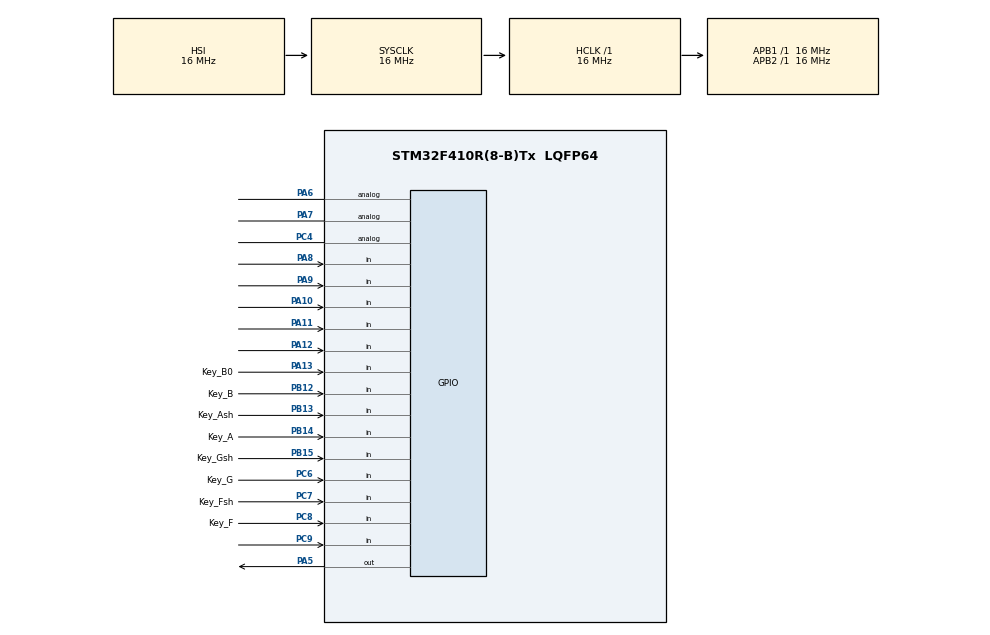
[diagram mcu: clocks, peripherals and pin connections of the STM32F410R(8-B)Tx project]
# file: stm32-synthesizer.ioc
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Mcu.Family=STM32F4
Mcu.Name=STM32F410R(8-B)Tx
Mcu.Package=LQFP64
NVIC.PriorityGroup=NVIC_PRIORITYGROUP_4
PA10.Signal=GPIO_Input
PA11.Signal=GPIO_Input
PA12.Signal=GPIO_Input
PA13.GPIO_Label=Key_B0
PA13.Signal=GPIO_Input
PA5.GPIO_Speed=GPIO_SPEED_FREQ_VERY_HIGH
PA5.Signal=GPIO_Output
PA6.Signal=GPIO_Analog
PA7.Signal=GPIO_Analog
PA8.Signal=GPIO_Input
PA9.Signal=GPIO_Input
PB12.GPIO_Label=Key_B
PB12.Signal=GPIO_Input
PB13.GPIO_Label=Key_Ash
PB13.Signal=GPIO_Input
PB14.GPIO_Label=Key_A
PB14.Signal=GPIO_Input
PB15.GPIO_Label=Key_Gsh
PB15.Signal=GPIO_Input
PC4.Signal=GPIO_Analog
PC6.GPIO_Label=Key_G
PC6.Signal=GPIO_Input
PC7.GPIO_Label=Key_Fsh
PC7.Signal=GPIO_Input
PC8.GPIO_Label=Key_F
PC8.Signal=GPIO_Input
PC9.Signal=GPIO_Input
ProjectManager.HeapSize=0x200
ProjectManager.StackSize=0x400
ProjectManager.TargetToolchain=SW4STM32
RCC.AHBFreq_Value=16000000
RCC.APB1Freq_Value=16000000
RCC.APB2Freq_Value=16000000
RCC.CortexFreq_Value=16000000
RCC.HSE_VALUE=25000000
RCC.HSI_VALUE=16000000
RCC.LSE_VALUE=32768
RCC.SYSCLKFreq_VALUE=16000000
RCC.VCOOutputFreq_Value=192000000
board=custom

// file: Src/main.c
/* USER CODE BEGIN Header */
/**
  ******************************************************************************
  * @file           : main.c
  * @brief          : Main program body
  ******************************************************************************
  * @attention
  *
  * <h2><center>&copy; Copyright (c) 2019 STMicroelectronics.
  * All rights reserved.</center></h2>
  *
  * This software component is licensed by ST under BSD 3-Clause license,
  * the "License"; You may not use this file except in compliance with the
  * License. You may obtain a copy of the License at:
  *                        opensource.org/licenses/BSD-3-Clause
  *
  ******************************************************************************
  */
/* USER CODE END Header */

#include "main.h"

/* USER CODE BEGIN PD */
#define	B0	16
#define	C1	15
#define	D1	14
#define	E1	12
#define	F1	11
#define	G1	10
#define	A1	9
#define	B1	8
/* USER CODE END PD */

void SystemClock_Config(void);
static void MX_GPIO_Init(void);

int main(void)
{

  /* MCU Configuration--------------------------------------------------------*/

  /* Reset of all peripherals, Initializes the Flash interface and the Systick. */
  HAL_Init();

  /* Configure the system clock */
  SystemClock_Config();

  /* Initialize all configured peripherals */
  MX_GPIO_Init();
  /* USER CODE BEGIN 2 */
  //HAL_GPIO_WritePin(GPIOA, GPIO_PIN_5, GPIO_PIN_SET);
  /* USER CODE END 2 */

  /* Infinite loop */
  /* USER CODE BEGIN WHILE */
  while (1)
  {
	  if ( HAL_GPIO_ReadPin(Key_B_GPIO_Port, Key_B_Pin) == GPIO_PIN_RESET) {
		  HAL_GPIO_TogglePin(GPIOA, GPIO_PIN_5);
		  HAL_Delay(B1);
	  } else if ( HAL_GPIO_ReadPin(GPIOB, GPIO_PIN_14) == GPIO_PIN_RESET) {
		  HAL_GPIO_TogglePin(GPIOA, GPIO_PIN_5);
		  HAL_Delay(A1);
	  } else if ( HAL_GPIO_ReadPin(GPIOC, GPIO_PIN_6) == GPIO_PIN_RESET) {
		  HAL_GPIO_TogglePin(GPIOA, GPIO_PIN_5);
		  HAL_Delay(G1);
	  } else if ( HAL_GPIO_ReadPin(GPIOC, GPIO_PIN_8) == GPIO_PIN_RESET) {
		  HAL_GPIO_TogglePin(GPIOA, GPIO_PIN_5);
		  HAL_Delay(F1);
	  } else if ( HAL_GPIO_ReadPin(GPIOC, GPIO_PIN_9) == GPIO_PIN_RESET) {
		  HAL_GPIO_TogglePin(GPIOA, GPIO_PIN_5);
		  HAL_Delay(E1);
	  } else if ( HAL_GPIO_ReadPin(GPIOA, GPIO_PIN_9) == GPIO_PIN_RESET) {
		  HAL_GPIO_TogglePin(GPIOA, GPIO_PIN_5);
		  HAL_Delay(D1);
	  } else if ( HAL_GPIO_ReadPin(GPIOA, GPIO_PIN_11) == GPIO_PIN_RESET) {
		  HAL_GPIO_TogglePin(GPIOA, GPIO_PIN_5);
		  HAL_Delay(C1);
	  } else if ( HAL_GPIO_ReadPin(GPIOA, GPIO_PIN_12) == GPIO_PIN_RESET) {
		  HAL_GPIO_TogglePin(GPIOA, GPIO_PIN_5);
		  HAL_Delay(B0);
	  } else {
		  HAL_GPIO_WritePin(GPIOA, GPIO_PIN_5, GPIO_PIN_RESET);
	  }

    /* USER CODE END WHILE */

  }
}

void SystemClock_Config(void)
{
  RCC_OscInitTypeDef RCC_OscInitStruct = {0};
  RCC_ClkInitTypeDef RCC_ClkInitStruct = {0};

  /** Configure the main internal regulator output voltage
  */
  __HAL_RCC_PWR_CLK_ENABLE();
  __HAL_PWR_VOLTAGESCALING_CONFIG(PWR_REGULATOR_VOLTAGE_SCALE1);
  /** Initializes the CPU, AHB and APB busses clocks
  */
  RCC_OscInitStruct.OscillatorType = RCC_OSCILLATORTYPE_HSI;
  RCC_OscInitStruct.HSIState = RCC_HSI_ON;
  RCC_OscInitStruct.HSICalibrationValue = RCC_HSICALIBRATION_DEFAULT;
  RCC_OscInitStruct.PLL.PLLState = RCC_PLL_NONE;
  if (HAL_RCC_OscConfig(&RCC_OscInitStruct) != HAL_OK)
  {
    Error_Handler();
  }
  /** Initializes the CPU, AHB and APB busses clocks
  */
  RCC_ClkInitStruct.ClockType = RCC_CLOCKTYPE_HCLK|RCC_CLOCKTYPE_SYSCLK
                              |RCC_CLOCKTYPE_PCLK1|RCC_CLOCKTYPE_PCLK2;
  RCC_ClkInitStruct.SYSCLKSource = RCC_SYSCLKSOURCE_HSI;
  RCC_ClkInitStruct.AHBCLKDivider = RCC_SYSCLK_DIV1;
  RCC_ClkInitStruct.APB1CLKDivider = RCC_HCLK_DIV1;
  RCC_ClkInitStruct.APB2CLKDivider = RCC_HCLK_DIV1;

  if (HAL_RCC_ClockConfig(&RCC_ClkInitStruct, FLASH_LATENCY_0) != HAL_OK)
  {
    Error_Handler();
  }
}

static void MX_GPIO_Init(void)
{
  GPIO_InitTypeDef GPIO_InitStruct = {0};

  /* GPIO Ports Clock Enable */
  __HAL_RCC_GPIOA_CLK_ENABLE();
  __HAL_RCC_GPIOC_CLK_ENABLE();
  __HAL_RCC_GPIOB_CLK_ENABLE();

  /*Configure GPIO pin Output Level */
  HAL_GPIO_WritePin(GPIOA, GPIO_PIN_5, GPIO_PIN_RESET);

  /*Configure GPIO pin : PA5 */
  GPIO_InitStruct.Pin = GPIO_PIN_5;
  GPIO_InitStruct.Mode = GPIO_MODE_OUTPUT_PP;
  GPIO_InitStruct.Pull = GPIO_NOPULL;
  GPIO_InitStruct.Speed = GPIO_SPEED_FREQ_VERY_HIGH;
  HAL_GPIO_Init(GPIOA, &GPIO_InitStruct);

  /*Configure GPIO pins : PA6 PA7 */
  GPIO_InitStruct.Pin = GPIO_PIN_6|GPIO_PIN_7;
  GPIO_InitStruct.Mode = GPIO_MODE_ANALOG;
  GPIO_InitStruct.Pull = GPIO_NOPULL;
  HAL_GPIO_Init(GPIOA, &GPIO_InitStruct);

  /*Configure GPIO pin : PC4 */
  GPIO_InitStruct.Pin = GPIO_PIN_4;
  GPIO_InitStruct.Mode = GPIO_MODE_ANALOG;
  GPIO_InitStruct.Pull = GPIO_NOPULL;
  HAL_GPIO_Init(GPIOC, &GPIO_InitStruct);

  /*Configure GPIO pins : Key_B_Pin Key_Ash_Pin Key_A_Pin Key_Gsh_Pin */
  GPIO_InitStruct.Pin = Key_B_Pin|Key_Ash_Pin|Key_A_Pin|Key_Gsh_Pin;
  GPIO_InitStruct.Mode = GPIO_MODE_INPUT;
  GPIO_InitStruct.Pull = GPIO_NOPULL;
  HAL_GPIO_Init(GPIOB, &GPIO_InitStruct);

  /*Configure GPIO pins : Key_G_Pin Key_Fsh_Pin Key_F_Pin PC9 */
  GPIO_InitStruct.Pin = Key_G_Pin|Key_Fsh_Pin|Key_F_Pin|GPIO_PIN_9;
  GPIO_InitStruct.Mode = GPIO_MODE_INPUT;
  GPIO_InitStruct.Pull = GPIO_NOPULL;
  HAL_GPIO_Init(GPIOC, &GPIO_InitStruct);

  /*Configure GPIO pins : PA8 PA9 PA10 PA11
                           PA12 Key_B0_Pin */
  GPIO_InitStruct.Pin = GPIO_PIN_8|GPIO_PIN_9|GPIO_PIN_10|GPIO_PIN_11
                          |GPIO_PIN_12|Key_B0_Pin;
  GPIO_InitStruct.Mode = GPIO_MODE_INPUT;
  GPIO_InitStruct.Pull = GPIO_NOPULL;
  HAL_GPIO_Init(GPIOA, &GPIO_InitStruct);

}

void Error_Handler(void)
{
}

/************************ (C) COPYRIGHT STMicroelectronics *****END OF FILE****/
